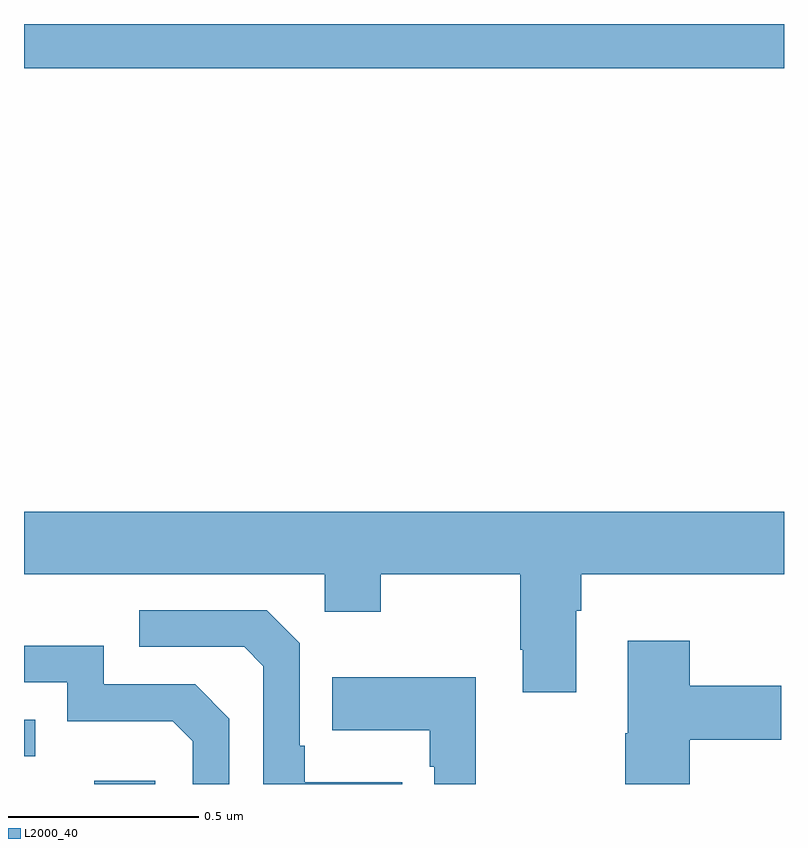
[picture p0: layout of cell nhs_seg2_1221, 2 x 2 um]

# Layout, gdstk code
import gdstk
lib = gdstk.Library(unit=1e-6, precision=1e-09)
def R(c, l, rs):  # rectangles x0, y0, x1, y1
    for r in rs: c.add(gdstk.rectangle(r[:2], r[2:], *l))
def P(c, l, *ps):  # polygons
    for p in ps: c.add(gdstk.Polygon(p, *l))
L2000_40 = (2000, 40)

nhs_seg2_1221 = lib.new_cell('nhs_seg2_1221')
R(nhs_seg2_1221, L2000_40, [(126.185,597.8,126.346,597.808), (126,597.873,126.029,597.969), (126,599.684,128,599.8)])
P(nhs_seg2_1221, L2000_40, [(127.453,598.256),(127.466,598.256),(127.466,598.352),(128,598.352),(128,598.516),(126,598.516),(126,598.352),(126.792,598.352),(126.792,598.253),(126.939,598.253),(126.939,598.352),(127.306,598.352),(127.306,598.153),(127.313,598.153),(127.313,598.041),(127.453,598.041)],
  [(126.995,597.805),(126.739,597.805),(126.739,597.901),(126.726,597.901),(126.726,598.17),(126.639,598.257),(126.303,598.257),(126.303,598.161),(126.579,598.161),(126.63,598.11),(126.63,597.8),(126.995,597.8)],
  [(127.752,597.917),(127.993,597.917),(127.993,598.059),(127.752,598.059),(127.752,598.177),(127.589,598.177),(127.589,597.933),(127.582,597.933),(127.582,597.8),(127.752,597.8)],
  [(126.54,597.972),(126.45,598.062),(126.21,598.062),(126.21,598.164),(126,598.164),(126,598.068),(126.114,598.068),(126.114,597.965),(126.391,597.965),(126.444,597.912),(126.444,597.8),(126.54,597.8)],
  [(127.189,598.081),(126.811,598.081),(126.811,597.941),(127.068,597.941),(127.068,597.845),(127.08,597.845),(127.08,597.8),(127.189,597.8)])

lib.write_gds('nhs_seg2_1221.gds')
